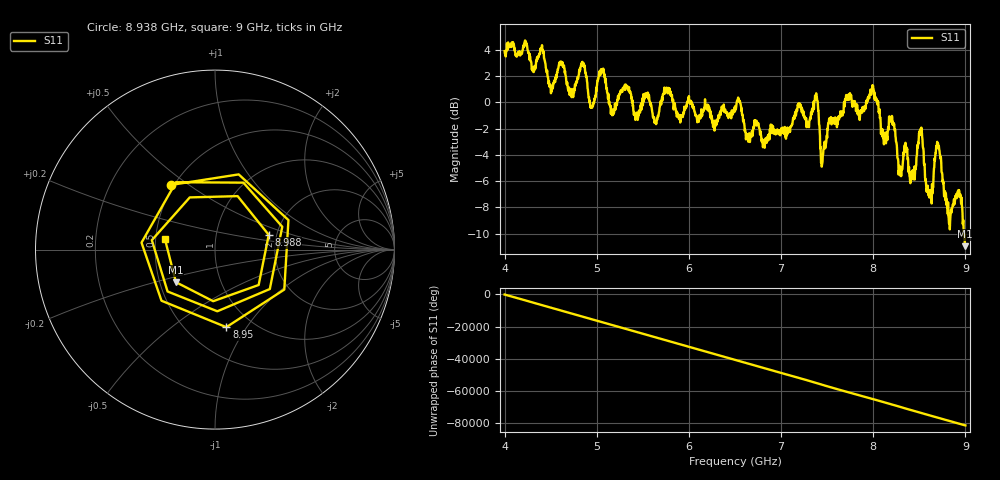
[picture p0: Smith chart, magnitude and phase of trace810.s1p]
! Created with skrf 1.8.0 (http://scikit-rf.org).
# Hz S RI R 50.0
!freq ReS11 ImS11
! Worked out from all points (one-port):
!   1601 points, 4 GHz to 9 GHz, reference 50 ohm
!   lowest |S11| = -11.0 dB at 8.997 GHz (marker M1), VSWR 1.79, Z = 30.3 - j12 ohm
!   |S11| at or under -10 dB: 8.986212 GHz to end of sweep
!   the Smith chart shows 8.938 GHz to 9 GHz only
!   S11 on the Smith chart (normalised r, x): 8.938 GHz: 0.48, +0.43; 8.95 GHz: 0.76, -0.81; 8.988 GHz: 1.82, +0.33; 9 GHz: 0.56, +0.07
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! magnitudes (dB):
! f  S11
! 4 GHz  3.9
! 4.4 GHz  4.1
! 4.503 GHz  0.7
! 4.625 GHz  2.9
! 4.731 GHz  1.0
! 4.853 GHz  3.0
! 4.944 GHz  -0.3
! 5.05 GHz  2.3
! 5.162 GHz  -0.5
! 5.25 GHz  0.6
! 5.875 GHz  -0.9
! 6.5 GHz  -0.7
! 6.812 GHz  -2.9
! 7.125 GHz  -1.5
! 7.378 GHz  0.2
! 7.456 GHz  -4.0
! 7.75 GHz  0.5
! 7.994 GHz  1.1
! 8.375 GHz  -4.3
! 8.512 GHz  -2.0
! 8.6 GHz  -7.1
! 8.7 GHz  -3.4
! 8.819 GHz  -8.8
! 8.938 GHz  -7.2
! 8.95 GHz  -7.2
! 8.988 GHz  -10.2
! 8.997 GHz  -11.0
! 9 GHz  -10.9
